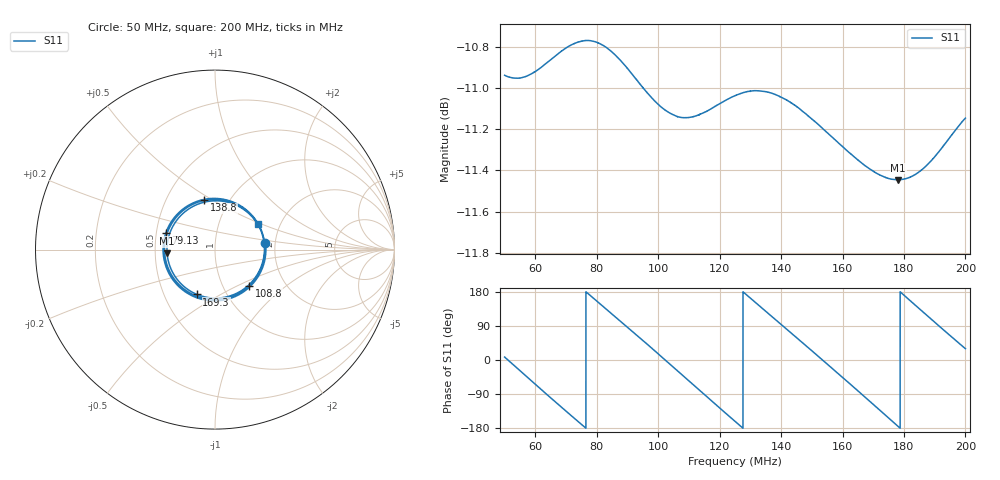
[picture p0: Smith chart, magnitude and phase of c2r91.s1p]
! COPPER MOUNTAIN TECHNOLOGIES, PLANAR TR1300/1, 00071119, 20.2.2/1.0
! Date: 1/9/2024 7:35:37 PM
! Data: Format [Calibration Info]
! Freq  S11: Re/Im F1
# HZ S RI R 50
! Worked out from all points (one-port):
!   12288 points, 50 MHz to 200 MHz, reference 50 ohm
!   lowest |S11| = -11.4 dB at 178.1 MHz (marker M1), VSWR 1.73, Z = 28.9 - j1.3 ohm
!   |S11| at or under -10 dB: start of sweep to end of sweep
!   S11 on the Smith chart (normalised r, x): 50 MHz: 1.77, +0.15; 79.13 MHz: 0.56, +0.11; 108.8 MHz: 1.32, -0.58; 138.8 MHz: 0.77, +0.46; 169.3 MHz: 0.73, -0.39; 200 MHz: 1.55, +0.46
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5e7  0.2813 0.0383
5.491983e7  0.2511 -0.1316
6.042565e7  0.1102 -0.2624
6.453976e7  -0.0327 -0.2843
6.875153e7  -0.1703 -0.232
7.409864e7  -0.2774 -0.0819
7.912835e7  -0.2747 0.0908
8.750305e7  -0.0692 0.2779
9.256938e7  0.1027 0.2642
9.812403e7  0.2435 0.1387
1.062546e8  0.2442 -0.1316
1.088427e8  0.1894 -0.2024
1.165826e8  -0.0593 -0.2721
1.250061e8  -0.2667 -0.0875
1.313421e8  -0.2528 0.1237
1.38789e8  -0.0598 0.2743
1.437576e8  0.1052 0.2588
1.487751e8  0.2327 0.1512
1.531944e8  0.2755 0.0102
1.575893e8  0.24 -0.1318
1.625092e8  0.1208 -0.2434
1.692968e8  -0.101 -0.2496
1.781354e8  -0.2669 -0.0209
1.812607e8  -0.2549 0.0827
1.863392e8  -0.1573 0.2188
1.907219e8  -0.0218 0.2708
1.949825e8  0.1172 0.2479
2e8  0.2403 0.1381
